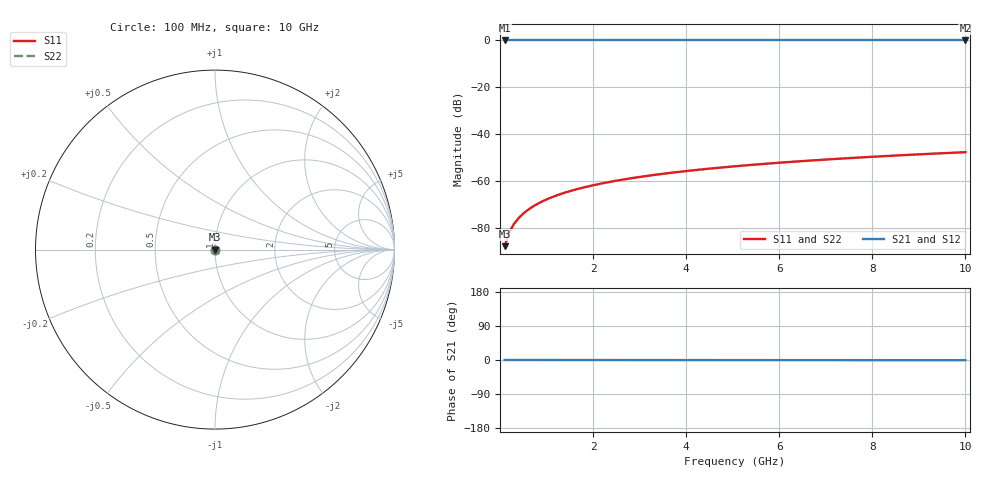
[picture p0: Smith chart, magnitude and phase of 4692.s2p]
# Hz S RI R 50.00
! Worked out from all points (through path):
!   100 points, 100 MHz to 10 GHz, reference 50 ohm
!   highest |S21| = 0.00 dB at 100 MHz (marker M1); lowest = 0.0 dB at 10 GHz (marker M2)
!   lowest |S11| = -87.6 dB at 100 MHz (marker M3), VSWR 1.00, Z = 50 - j0.00413 ohm
!   |S11| at or under -10 dB: start of sweep to end of sweep
!   |S22| runs from -87.6 to -47.6 dB; largest |S21 - S12| = 0
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1e8  7.17e-06 -4.13e-05  1 -8.23e-05  1 -8.23e-05  7.17e-06 -4.13e-05
2e8  7.15e-06 -8.26e-05  1 -0.000165  1 -0.000165  7.15e-06 -8.26e-05
3e8  7.11e-06 -0.000124  1 -0.000247  1 -0.000247  7.11e-06 -0.000124
4e8  7.06e-06 -0.000165  1 -0.000329  1 -0.000329  7.06e-06 -0.000165
5e8  6.99e-06 -0.000207  1 -0.000412  1 -0.000412  6.99e-06 -0.000207
6e8  6.92e-06 -0.000248  1 -0.000494  1 -0.000494  6.92e-06 -0.000248
7e8  6.84e-06 -0.000289  1 -0.000576  1 -0.000576  6.84e-06 -0.000289
8e8  6.75e-06 -0.000331  1 -0.000659  1 -0.000659  6.75e-06 -0.000331
1e9  6.55e-06 -0.000413  1 -0.000824  1 -0.000824  6.55e-06 -0.000413
1.2e9  6.31e-06 -0.000496  1 -0.000989  1 -0.000989  6.31e-06 -0.000496
1.5e9  5.9e-06 -0.00062  1 -0.00124  1 -0.00124  5.9e-06 -0.00062
1.8e9  5.42e-06 -0.000745  1 -0.00148  1 -0.00148  5.42e-06 -0.000745
2.1e9  4.88e-06 -0.000869  1 -0.00173  1 -0.00173  4.88e-06 -0.000869
2.5e9  4.06e-06 -0.00104  1 -0.00206  1 -0.00206  4.06e-06 -0.00104
2.9e9  3.13e-06 -0.0012  1 -0.00239  1 -0.00239  3.13e-06 -0.0012
3.4e9  1.8e-06 -0.00141  1 -0.00281  1 -0.00281  1.8e-06 -0.00141
4.2e9  -6.9e-07 -0.00174  1 -0.00347  1 -0.00347  -6.9e-07 -0.00174
5.1e9  -4.04e-06 -0.00212  1 -0.00422  1 -0.00422  -4.04e-06 -0.00212
5.9e9  -7.5e-06 -0.00246  1 -0.00489  1 -0.00489  -7.5e-06 -0.00246
6.7e9  -1.14e-05 -0.00279  1 -0.00556  1 -0.00556  -1.14e-05 -0.00279
8.4e9  -2.13e-05 -0.00351  1 -0.00699  1 -0.00699  -2.13e-05 -0.00351
1e10  -3.25e-05 -0.00419  0.9999 -0.00835  0.9999 -0.00835  -3.25e-05 -0.00419
